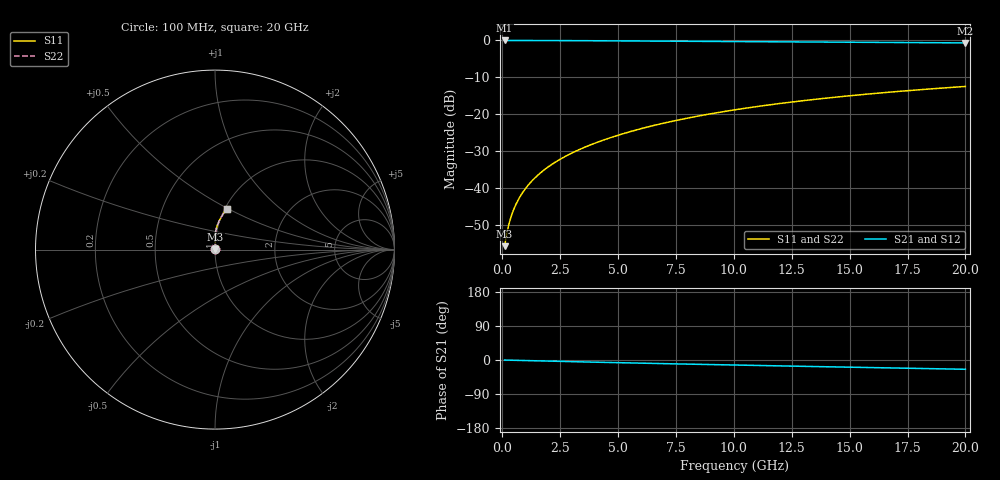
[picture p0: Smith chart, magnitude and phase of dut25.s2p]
! Touchstone file exported from HFSS 2024.1.0
!  File:  C:/UserFiles/LocalFiles/RDL_TSV_Batchsim/temp_RDL_top_25_1778680390.aedt
!  Generated:  09:54:58 PM May 13, 2026
!  Design:  RDL_top
!  Project:  temp_RDL_top_25_1778680390
!  Setup:  Setup1
!  Solution:  Sweep
! Variables:
!  dtsv = 10.80580581um
!  hbump = 3um
!  htsv = 73.13um
!  ldown = 100um
!  lrdl = 327.13um
!  p = 40
!  p1 = 55.28um
!  rhole = 1um
!  t = 450um
!  tdown = 3.915915916um
!  trdl = 4.35um
!  wdown = 15.38538539um
!  wrdl = 26.23um
# GHz S MA R 50.000000
! Terminal data exported
! Port[1] = Box2_T1
! Port[2] = Box2_T2
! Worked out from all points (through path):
!   200 points, 100 MHz to 20 GHz, reference 50 ohm
!   highest |S21| = -0.01 dB at 100 MHz (marker M1); lowest = -0.7 dB at 20 GHz (marker M2)
!   group delay of S21, straight-line fit = 3.35 ps
!   lowest |S11| = -55.8 dB at 100 MHz (marker M3), VSWR 1.00, Z = 50.1 + j0.107 ohm
!   |S11| at or under -10 dB: start of sweep to end of sweep
!   |S22| runs from -55.8 to -12.5 dB; largest |S21 - S12| = 3.5e-15
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0.1  0.001615 41.4  0.9988 -0.2  0.9988 -0.2  0.001615 41.4
! Gamma 0 0 0 0
! Port Impedance 50 0 50 0
0.2  0.002451 58.4  0.9987 -0.3  0.9987 -0.3  0.002451 58.4
0.3  0.003347 66.1  0.9986 -0.5  0.9986 -0.5  0.003348 66.1
0.4  0.004247 70.7  0.9985 -0.6  0.9985 -0.6  0.004248 70.7
0.5  0.005149 73.9  0.9984 -0.8  0.9984 -0.8  0.00515 73.9
0.6  0.006056 76.2  0.9983 -0.9  0.9983 -0.9  0.006057 76.2
0.8  0.00789 79.6  0.9981 -1.2  0.9981 -1.2  0.007891 79.6
1.1  0.01069 82.7  0.9977 -1.6  0.9977 -1.6  0.01069 82.7
1.5  0.0145 85.3  0.997 -2.2  0.997 -2.2  0.0145 85.3
1.8  0.01742 86.6  0.9965 -2.7  0.9965 -2.7  0.01742 86.6
2.1  0.02038 87.6  0.9958 -3.1  0.9958 -3.1  0.02038 87.6
2.7  0.02646 89.0  0.9941 -3.9  0.9941 -3.9  0.02645 89.0
3.5  0.03488 90.1  0.9916 -5.1  0.9916 -5.1  0.03488 90.1
4.2  0.04257 90.6  0.989 -6.0  0.989 -6.0  0.04256 90.6
5  0.05169 90.8  0.9858 -7.1  0.9858 -7.1  0.05168 90.7
6.8  0.07331 90.0  0.9783 -9.4  0.9783 -9.4  0.07329 90.0
8.4  0.09339 88.6  0.9716 -11.4  0.9716 -11.4  0.09336 88.5
10.1  0.1151 86.6  0.9646 -13.4  0.9646 -13.4  0.1151 86.5
11.7  0.1357 84.5  0.9582 -15.2  0.9582 -15.2  0.1356 84.5
13.4  0.1573 82.2  0.9515 -17.2  0.9515 -17.2  0.1573 82.1
16.7  0.1983 77.7  0.9386 -20.9  0.9386 -20.9  0.1982 77.6
20  0.2374 73.3  0.9256 -24.5  0.9256 -24.5  0.2373 73.3
